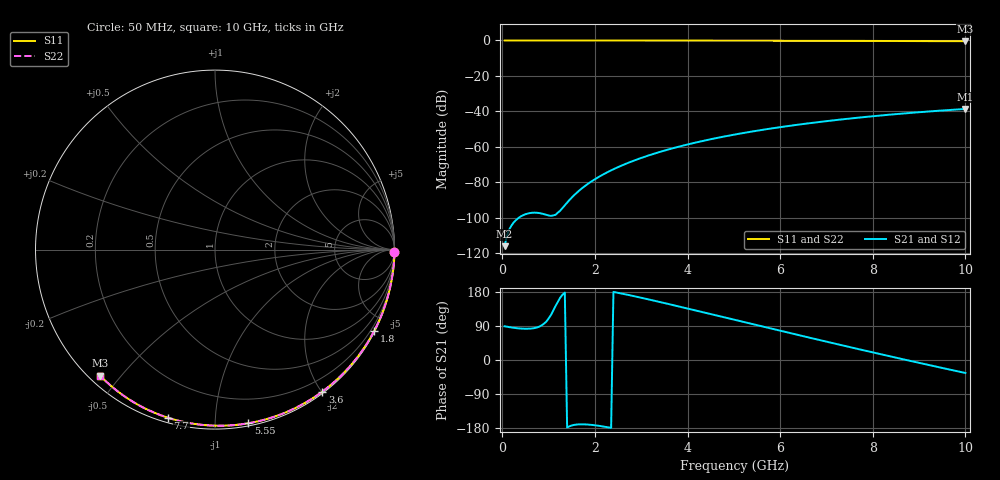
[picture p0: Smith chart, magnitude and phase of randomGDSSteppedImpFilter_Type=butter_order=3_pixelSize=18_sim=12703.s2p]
! freq	dB(S11)	phase(S11)	dB(S12)	phase(S12)
!  dB(S21)	phase(S21)	dB(S22)	phase(S22)
!S-par simulation data
#  GHz  S  DB  R 50
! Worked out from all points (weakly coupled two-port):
!   200 points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, 50 MHz to 10 GHz, reference 50 ohm
!   highest |S21| = -38.63 dB at 10 GHz (marker M1); lowest = -116.1 dB at 50 MHz (marker M2)
!   lowest |S11| = -0.4 dB at 10 GHz (marker M3), VSWR 39.11, Z = 1.53 - j22.1 ohm
!   |S11| at or under -10 dB: nowhere
!   |S22| runs from -0.4 to 0.0 dB; largest |S21 - S12| = 0
!   S11 on the Smith chart (normalised r, x): 50 MHz: open; 1.8 GHz: 0.04, -4.15; 3.6 GHz: 0.02, -2.01; 5.55 GHz: 0.02, -1.21; 7.7 GHz: 0.02, -0.76; 10 GHz: 0.03, -0.44
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0.05  -0.00 -0.8  -116.05 88.9  -116.05 88.9  -0.00 -0.8
0.45  -0.01 -6.9  -98.57 82.6  -98.57 82.6  -0.01 -6.9
0.9  -0.02 -13.7  -98.01 95.8  -98.01 95.8  -0.02 -13.7
1.75  -0.03 -26.3  -82.80 -169.7  -82.80 -169.7  -0.03 -26.3
1.8  -0.03 -27.1  -81.81 -170.0  -81.81 -170.0  -0.03 -27.1
1.9  -0.04 -28.5  -79.97 -170.9  -79.97 -170.9  -0.04 -28.5
2.05  -0.04 -30.8  -77.49 -173.1  -77.49 -173.1  -0.04 -30.8
2.25  -0.04 -33.7  -74.59 -176.9  -74.59 -176.9  -0.04 -33.7
2.45  -0.05 -36.6  -72.04 178.5  -72.04 178.5  -0.05 -36.6
2.65  -0.05 -39.5  -69.76 173.6  -69.76 173.6  -0.05 -39.5
3  -0.06 -44.5  -66.29 164.3  -66.29 164.3  -0.06 -44.5
3.4  -0.07 -50.1  -62.90 153.1  -62.90 153.1  -0.07 -50.1
3.6  -0.07 -52.9  -61.40 147.4  -61.40 147.4  -0.07 -52.9
4.3  -0.09 -62.6  -56.86 127.1  -56.86 127.1  -0.09 -62.6
5.05  -0.11 -72.6  -52.93 105.1  -52.93 105.1  -0.11 -72.6
5.55  -0.13 -79.1  -50.70 90.4  -50.70 90.4  -0.13 -79.1
6.1  -0.15 -86.1  -48.54 74.3  -48.54 74.3  -0.15 -86.1
6.7  -0.18 -93.5  -46.46 57.0  -46.46 57.0  -0.18 -93.5
7.7  -0.24 -105.6  -43.52 28.5  -43.52 28.5  -0.24 -105.6
8.35  -0.29 -113.3  -41.90 10.3  -41.90 10.3  -0.29 -113.3
9.15  -0.36 -122.6  -40.17 -11.6  -40.17 -11.6  -0.36 -122.6
10  -0.44 -132.3  -38.63 -34.3  -38.63 -34.3  -0.44 -132.3
